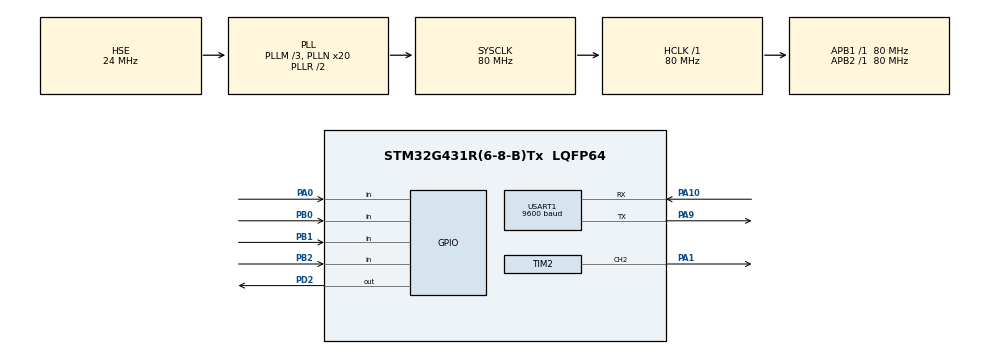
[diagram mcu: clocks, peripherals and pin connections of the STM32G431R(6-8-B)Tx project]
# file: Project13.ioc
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Dma.Request0=USART1_RX
Dma.Request1=USART1_TX
Dma.USART1_RX.0.Direction=DMA_PERIPH_TO_MEMORY
Dma.USART1_RX.0.EventEnable=DISABLE
Dma.USART1_RX.0.Instance=DMA1_Channel1
Dma.USART1_RX.0.MemDataAlignment=DMA_MDATAALIGN_BYTE
Dma.USART1_RX.0.MemInc=DMA_MINC_ENABLE
Dma.USART1_RX.0.Mode=DMA_NORMAL
Dma.USART1_RX.0.PeriphDataAlignment=DMA_PDATAALIGN_BYTE
Dma.USART1_RX.0.PeriphInc=DMA_PINC_DISABLE
Dma.USART1_RX.0.Polarity=HAL_DMAMUX_REQ_GEN_RISING
Dma.USART1_RX.0.Priority=DMA_PRIORITY_LOW
Dma.USART1_RX.0.RequestNumber=1
Dma.USART1_RX.0.SignalID=NONE
Dma.USART1_RX.0.SyncEnable=DISABLE
Dma.USART1_RX.0.SyncPolarity=HAL_DMAMUX_SYNC_NO_EVENT
Dma.USART1_RX.0.SyncRequestNumber=1
Dma.USART1_RX.0.SyncSignalID=NONE
Dma.USART1_TX.1.Direction=DMA_MEMORY_TO_PERIPH
Dma.USART1_TX.1.EventEnable=DISABLE
Dma.USART1_TX.1.Instance=DMA1_Channel2
Dma.USART1_TX.1.MemDataAlignment=DMA_MDATAALIGN_BYTE
Dma.USART1_TX.1.MemInc=DMA_MINC_ENABLE
Dma.USART1_TX.1.Mode=DMA_NORMAL
Dma.USART1_TX.1.PeriphDataAlignment=DMA_PDATAALIGN_BYTE
Dma.USART1_TX.1.PeriphInc=DMA_PINC_DISABLE
Dma.USART1_TX.1.Polarity=HAL_DMAMUX_REQ_GEN_RISING
Dma.USART1_TX.1.Priority=DMA_PRIORITY_LOW
Dma.USART1_TX.1.RequestNumber=1
Dma.USART1_TX.1.SignalID=NONE
Dma.USART1_TX.1.SyncEnable=DISABLE
Dma.USART1_TX.1.SyncPolarity=HAL_DMAMUX_SYNC_NO_EVENT
Dma.USART1_TX.1.SyncRequestNumber=1
Dma.USART1_TX.1.SyncSignalID=NONE
Mcu.Family=STM32G4
Mcu.Name=STM32G431R(6-8-B)Tx
Mcu.Package=LQFP64
NVIC.DMA1_Channel1_IRQn=true\:0\:0\:false\:false\:true\:false\:true
NVIC.DMA1_Channel2_IRQn=true\:0\:0\:false\:false\:true\:false\:true
NVIC.PriorityGroup=NVIC_PRIORITYGROUP_4
NVIC.TIM2_IRQn=true\:0\:0\:false\:false\:true\:true\:true
NVIC.USART1_IRQn=true\:0\:0\:false\:false\:true\:true\:true
PA0.Signal=GPIO_Input
PA1.Signal=S_TIM2_CH2
PA10.Mode=Asynchronous
PA10.Signal=USART1_RX
PA9.Mode=Asynchronous
PA9.Signal=USART1_TX
PB0.Signal=GPIO_Input
PB1.Signal=GPIO_Input
PB2.Signal=GPIO_Input
PD2.PinState=GPIO_PIN_SET
PD2.Signal=GPIO_Output
PF0-OSC_IN.Mode=HSE-External-Oscillator
PF0-OSC_IN.Signal=RCC_OSC_IN
PF1-OSC_OUT.Mode=HSE-External-Oscillator
PF1-OSC_OUT.Signal=RCC_OSC_OUT
ProjectManager.HeapSize=0x200
ProjectManager.StackSize=0x400
ProjectManager.TargetToolchain=MDK-ARM V5.27
RCC.ADC12Freq_Value=80000000
RCC.AHBFreq_Value=80000000
RCC.APB1Freq_Value=80000000
RCC.APB1TimFreq_Value=80000000
RCC.APB2Freq_Value=80000000
RCC.APB2TimFreq_Value=80000000
RCC.CortexFreq_Value=80000000
RCC.EXTERNAL_CLOCK_VALUE=12288000
RCC.HCLKFreq_Value=80000000
RCC.HSE_VALUE=24000000
RCC.HSI48_VALUE=48000000
RCC.HSI_VALUE=16000000
RCC.LSE_VALUE=32768
RCC.PLLM=RCC_PLLM_DIV3
RCC.PLLN=20
RCC.PLLSourceVirtual=RCC_PLLSOURCE_HSE
RCC.SYSCLKFreq_VALUE=80000000
RCC.SYSCLKSource=RCC_SYSCLKSOURCE_PLLCLK
RCC.USBFreq_Value=80000000
RCC.VCOOutputFreq_Value=160000000
SH.S_TIM2_CH2.0=TIM2_CH2,PWM Generation2 CH2
TIM2.AutoReloadPreload=TIM_AUTORELOAD_PRELOAD_ENABLE
TIM2.Channel-PWM\ Generation2\ CH2=TIM_CHANNEL_2
TIM2.PeriodNoDither=999
TIM2.Prescaler=79
TIM2.PulseNoDither_2=500
USART1.BaudRate=9600
USART1.VirtualMode-Asynchronous=VM_ASYNC
VP_SYS_VS_DBSignals.Mode=DisableDeadBatterySignals
VP_TIM2_VS_ClockSourceINT.Mode=Internal
board=custom

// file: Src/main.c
/* USER CODE BEGIN Header */
/**
  ******************************************************************************
  * @file           : main.c
  * @brief          : Main program body
  ******************************************************************************
  * @attention
  *
  * <h2><center>&copy; Copyright (c) 2022 STMicroelectronics.
  * All rights reserved.</center></h2>
  *
  * This software component is licensed by ST under BSD 3-Clause license,
  * the "License"; You may not use this file except in compliance with the
  * License. You may obtain a copy of the License at:
  *                        opensource.org/licenses/BSD-3-Clause
  *
  ******************************************************************************
  */
/* USER CODE END Header */

#include "main.h"
#include "dma.h"
#include "tim.h"
#include "usart.h"
#include "gpio.h"

/* USER CODE BEGIN Includes */
#include "lcd.h"
#include "task.h"
#include <stdio.h>
uint8_t RX[50];
extern DMA_HandleTypeDef hdma_usart1_tx;
extern DMA_HandleTypeDef hdma_usart1_rx;
/* USER CODE END Includes */

void SystemClock_Config(void);

/* USER CODE BEGIN 0 */

void HAL_UART_IdleCpltCallback(UART_HandleTypeDef *huart)
{
	uint16_t count=0;
	uint8_t  i;
	//unsigned char str[20];
	count=50-__HAL_DMA_GET_COUNTER(&hdma_usart1_rx);

	//HAL_UART_Transmit_DMA(&huart1,RX,count);
	//sprintf((char*)str,"    B3:%d            ",count);
	//LCD_DisplayStringLine(Line0,str);
	if(count==7)
	{
		if((RX[0]==saved_password[0])&&(RX[1]==saved_password[1])&&(RX[2]==saved_password[2])&&(RX[3]=='-'))
		{
			for(i=0;i<=2;i++)
			{
				saved_password[i]=RX[i+4];
			}
		}
	}
	HAL_UART_Receive_DMA(&huart1,RX,50);

}
/* USER CODE END 0 */

int main(void)
{

  /* MCU Configuration--------------------------------------------------------*/

  /* Reset of all peripherals, Initializes the Flash interface and the Systick. */
  HAL_Init();

  /* Configure the system clock */
  SystemClock_Config();

  /* USER CODE BEGIN SysInit */
	HAL_TIM_PWM_Start(&htim2,TIM_CHANNEL_2);
 __HAL_TIM_CLEAR_IT(&htim2,TIM_CHANNEL_2);
  /* USER CODE END SysInit */

  /* Initialize all configured peripherals */
  MX_GPIO_Init();
  MX_DMA_Init();
  MX_TIM2_Init();
  MX_USART1_UART_Init();
  /* USER CODE BEGIN 2 */
	HAL_UART_Receive_DMA(&huart1,RX,50);
	__HAL_UART_ENABLE_IT(&huart1,UART_IT_IDLE);
  LCD_Init();
	LCD_Clear(Black);
	LCD_SetTextColor(White);
  LCD_SetBackColor(Black);
	close_led();
  /* USER CODE END 2 */

  /* Infinite loop */
  while (1)
  {

    /* USER CODE BEGIN 3 */
		project13();
  }
  /* USER CODE END 3 */
}

void SystemClock_Config(void)
{
  RCC_OscInitTypeDef RCC_OscInitStruct = {0};
  RCC_ClkInitTypeDef RCC_ClkInitStruct = {0};
  RCC_PeriphCLKInitTypeDef PeriphClkInit = {0};

  /** Configure the main internal regulator output voltage
  */
  HAL_PWREx_ControlVoltageScaling(PWR_REGULATOR_VOLTAGE_SCALE1);
  /** Initializes the CPU, AHB and APB busses clocks
  */
  RCC_OscInitStruct.OscillatorType = RCC_OSCILLATORTYPE_HSE;
  RCC_OscInitStruct.HSEState = RCC_HSE_ON;
  RCC_OscInitStruct.PLL.PLLState = RCC_PLL_ON;
  RCC_OscInitStruct.PLL.PLLSource = RCC_PLLSOURCE_HSE;
  RCC_OscInitStruct.PLL.PLLM = RCC_PLLM_DIV3;
  RCC_OscInitStruct.PLL.PLLN = 20;
  RCC_OscInitStruct.PLL.PLLP = RCC_PLLP_DIV2;
  RCC_OscInitStruct.PLL.PLLQ = RCC_PLLQ_DIV2;
  RCC_OscInitStruct.PLL.PLLR = RCC_PLLR_DIV2;
  if (HAL_RCC_OscConfig(&RCC_OscInitStruct) != HAL_OK)
  {
    Error_Handler();
  }
  /** Initializes the CPU, AHB and APB busses clocks
  */
  RCC_ClkInitStruct.ClockType = RCC_CLOCKTYPE_HCLK|RCC_CLOCKTYPE_SYSCLK
                              |RCC_CLOCKTYPE_PCLK1|RCC_CLOCKTYPE_PCLK2;
  RCC_ClkInitStruct.SYSCLKSource = RCC_SYSCLKSOURCE_PLLCLK;
  RCC_ClkInitStruct.AHBCLKDivider = RCC_SYSCLK_DIV1;
  RCC_ClkInitStruct.APB1CLKDivider = RCC_HCLK_DIV1;
  RCC_ClkInitStruct.APB2CLKDivider = RCC_HCLK_DIV1;

  if (HAL_RCC_ClockConfig(&RCC_ClkInitStruct, FLASH_LATENCY_3) != HAL_OK)
  {
    Error_Handler();
  }
  /** Initializes the peripherals clocks
  */
  PeriphClkInit.PeriphClockSelection = RCC_PERIPHCLK_USART1;
  PeriphClkInit.Usart1ClockSelection = RCC_USART1CLKSOURCE_PCLK2;
  if (HAL_RCCEx_PeriphCLKConfig(&PeriphClkInit) != HAL_OK)
  {
    Error_Handler();
  }
}

void Error_Handler(void)
{
}

/************************ (C) COPYRIGHT STMicroelectronics *****END OF FILE****/
